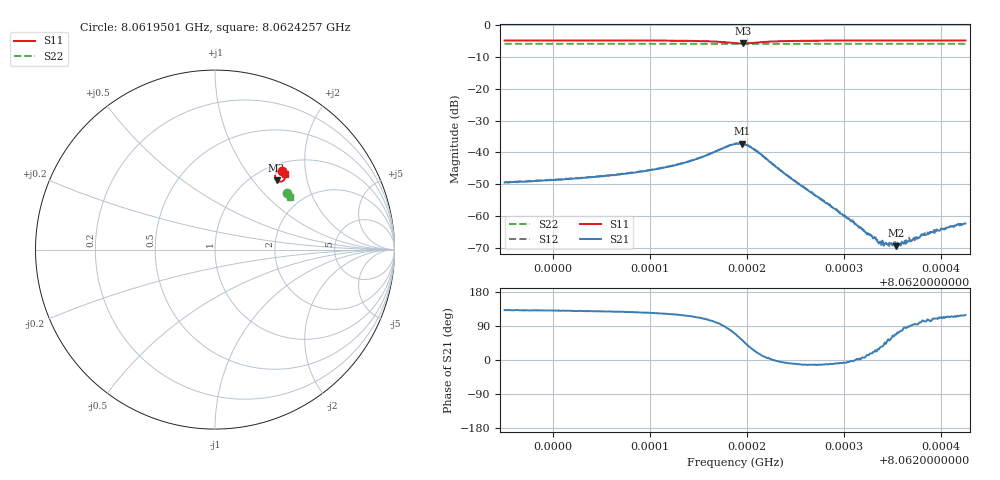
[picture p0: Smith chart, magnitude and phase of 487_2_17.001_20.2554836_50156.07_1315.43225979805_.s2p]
#  HZ  S  RI  R  50.00
! Rohde & Schwarz Vector Network Analyzer
! Rohde-Schwarz,ZNB20-2Port,1311601062101988,3.16
! Created: UTC 3/20/2024, 11:13:55 PM
! freq[Hz]  re:S11  im:S11  re:S21  im:S21  re:S12  im:S12  re:S22  im:S22
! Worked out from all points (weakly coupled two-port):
!   401 points, 8.0619501 GHz to 8.0624257 GHz, reference 50 ohm
!   highest |S21| = -37.28 dB at 8.062195 GHz (marker M1); lowest = -69.4 dB at 8.0623543 GHz (marker M2)
!   lowest |S11| = -5.7 dB at 8.0621962 GHz (marker M3), VSWR 3.14, Z = 63.1 + j66.5 ohm
!   |S11| at or under -10 dB: nowhere
!   |S22| runs from -5.9 to -5.8 dB; largest |S21 - S12| = 0.00093
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8.06195005e9  0.3737 0.4383  -0.00222 0.0025  -0.0021 0.00263  0.4021 0.3143
8.06202972e9  0.3799 0.4324  -0.0025 0.00303  -0.00235 0.00321  0.405 0.3103
8.06210938e9  0.3875 0.4219  -0.00302 0.00462  -0.00277 0.00485  0.4078 0.306
8.0621403e9  0.3907 0.4126  -0.00316 0.00643  -0.00279 0.00667  0.409 0.3039
8.06218786e9  0.3612 0.3783  0.00478 0.0126  0.00565 0.0125  0.409 0.3005
8.06219499e9  0.3453 0.3842  0.0082 0.011  0.00895 0.0104  0.4085 0.3008
8.06219618e9  0.3429 0.3862  0.00863 0.0103  0.00936 0.00983  0.4085 0.3008
8.06220332e9  0.3346 0.4009  0.0101 0.00665  0.0107 0.00618  0.4085 0.3013
8.06221283e9  0.3368 0.4193  0.00931 0.00273  0.00954 0.00215  0.4092 0.3017
8.0622378e9  0.3569 0.435  0.00474 -0.000537  0.0048 -0.000825  0.4111 0.3009
8.06226753e9  0.3699 0.4348  0.00222 -0.00048  0.00225 -0.000632  0.4126 0.2993
8.06230795e9  0.3786 0.4318  0.000816 -3.12e-05  0.000846 -7.07e-05  0.4144 0.297
8.06233649e9  0.3824 0.4296  0.000323 0.000174  0.000363 0.000164  0.4154 0.2956
8.06234363e9  0.3832 0.429  0.00027 0.00025  0.000289 0.00024  0.4157 0.295
8.06234719e9  0.3837 0.4288  0.000235 0.000294  0.000211 0.000257  0.4158 0.2949
8.06235433e9  0.3844 0.4283  0.000132 0.00031  0.000151 0.000337  0.4162 0.2945
8.06235789e9  0.3846 0.4282  8.77e-05 0.000333  0.000115 0.000339  0.4163 0.2943
8.06236503e9  0.3855 0.4275  3.39e-05 0.000378  7.56e-05 0.000385  0.4164 0.2941
8.06237335e9  0.3863 0.4269  -3.97e-05 0.00045  -2.03e-05 0.000411  0.4168 0.2936
8.06238405e9  0.3872 0.4263  -0.000104 0.000486  -8.43e-05 0.000534  0.4172 0.2931
8.06239238e9  0.3879 0.4257  -0.000185 0.00052  -0.000131 0.000551  0.4174 0.2925
8.06242567e9  0.3904 0.4236  -0.000366 0.000662  -0.000319 0.00071  0.4185 0.2908
